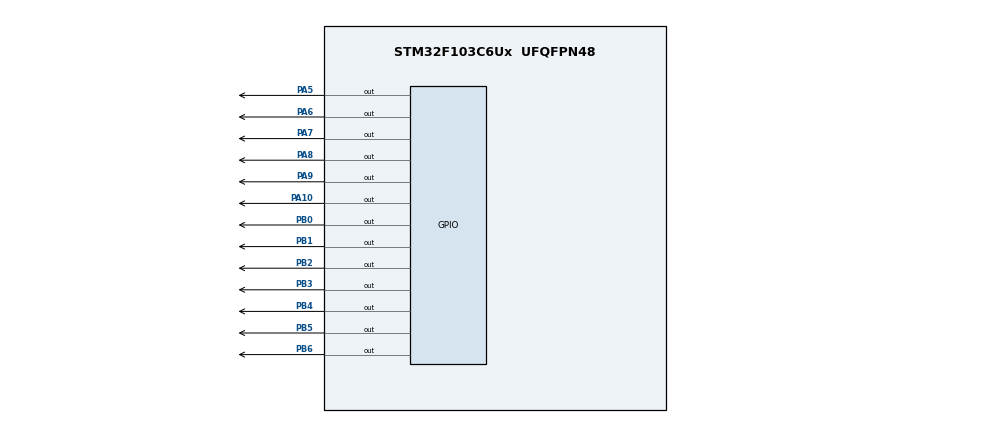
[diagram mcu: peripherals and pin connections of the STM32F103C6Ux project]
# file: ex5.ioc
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Mcu.Family=STM32F1
Mcu.Name=STM32F103C6Ux
Mcu.Package=UFQFPN48
NVIC.PriorityGroup=NVIC_PRIORITYGROUP_4
PA10.Signal=GPIO_Output
PA5.Signal=GPIO_Output
PA6.Signal=GPIO_Output
PA7.Signal=GPIO_Output
PA8.Signal=GPIO_Output
PA9.Signal=GPIO_Output
PB0.Signal=GPIO_Output
PB1.Signal=GPIO_Output
PB2.Signal=GPIO_Output
PB3.Signal=GPIO_Output
PB4.Signal=GPIO_Output
PB5.Signal=GPIO_Output
PB6.Signal=GPIO_Output
ProjectManager.HeapSize=0x200
ProjectManager.StackSize=0x400
ProjectManager.TargetToolchain=STM32CubeIDE
RCC.APB1Freq_Value=8000000
RCC.APB2Freq_Value=8000000
VP_SYS_VS_ND.Mode=No_Debug
board=custom

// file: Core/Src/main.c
/* USER CODE BEGIN Header */
/**
  ******************************************************************************
  * @file           : main.c
  * @brief          : Main program body
  ******************************************************************************
  * @attention
  *
  * <h2><center>&copy; Copyright (c) 2026 STMicroelectronics.
  * All rights reserved.</center></h2>
  *
  * This software component is licensed by ST under BSD 3-Clause license,
  * the "License"; You may not use this file except in compliance with the
  * License. You may obtain a copy of the License at:
  *                        opensource.org/licenses/BSD-3-Clause
  *
  ******************************************************************************
  */
/* USER CODE END Header */
#include "main.h"

void SystemClock_Config(void);
static void MX_GPIO_Init(void);

/* USER CODE BEGIN 0 */
void display7SEG(int num) {
    const uint8_t segment_map[10] = {
        0b1000000,
        0b1111001,
        0b0100100,
        0b0110000,
        0b0011001,
        0b0010010,
        0b0000010,
        0b1111000,
        0b0000000,
        0b0010000
    };

    if (num >= 0 && num <= 9) {
        uint8_t code = segment_map[num];
        HAL_GPIO_WritePin(GPIOB, GPIO_PIN_0, (code & 0x01) ? GPIO_PIN_SET : GPIO_PIN_RESET);
        HAL_GPIO_WritePin(GPIOB, GPIO_PIN_1, (code & 0x02) ? GPIO_PIN_SET : GPIO_PIN_RESET);
        HAL_GPIO_WritePin(GPIOB, GPIO_PIN_2, (code & 0x04) ? GPIO_PIN_SET : GPIO_PIN_RESET);
        HAL_GPIO_WritePin(GPIOB, GPIO_PIN_3, (code & 0x08) ? GPIO_PIN_SET : GPIO_PIN_RESET);
        HAL_GPIO_WritePin(GPIOB, GPIO_PIN_4, (code & 0x10) ? GPIO_PIN_SET : GPIO_PIN_RESET);
        HAL_GPIO_WritePin(GPIOB, GPIO_PIN_5, (code & 0x20) ? GPIO_PIN_SET : GPIO_PIN_RESET);
        HAL_GPIO_WritePin(GPIOB, GPIO_PIN_6, (code & 0x40) ? GPIO_PIN_SET : GPIO_PIN_RESET);
    }
}
/* USER CODE END 0 */

int main(void)
{

  /* MCU Configuration--------------------------------------------------------*/

  /* Reset of all peripherals, Initializes the Flash interface and the Systick. */
  HAL_Init();

  /* Configure the system clock */
  SystemClock_Config();

  /* Initialize all configured peripherals */
  MX_GPIO_Init();

  /* Infinite loop */
  while (1)
  {
	  HAL_GPIO_WritePin(GPIOA, GPIO_PIN_5, GPIO_PIN_RESET);
	      HAL_GPIO_WritePin(GPIOA, GPIO_PIN_6 | GPIO_PIN_7, GPIO_PIN_SET);

	      HAL_GPIO_WritePin(GPIOA, GPIO_PIN_10, GPIO_PIN_RESET);
	      HAL_GPIO_WritePin(GPIOA, GPIO_PIN_8 | GPIO_PIN_9, GPIO_PIN_SET);

	      for(int i = 3; i > 0; i--)
	      {
	          display7SEG(i);
	          HAL_Delay(1000);
	      }

	      // Vàng hướng 1 - Đỏ hướng 2 (2 giây)
	      HAL_GPIO_WritePin(GPIOA, GPIO_PIN_6, GPIO_PIN_RESET);
	      HAL_GPIO_WritePin(GPIOA, GPIO_PIN_5 | GPIO_PIN_7, GPIO_PIN_SET);

	      HAL_GPIO_WritePin(GPIOA, GPIO_PIN_10, GPIO_PIN_RESET);
	      HAL_GPIO_WritePin(GPIOA, GPIO_PIN_8 | GPIO_PIN_9, GPIO_PIN_SET);

	      for(int i = 2; i > 0; i--)
	      {
	          display7SEG(i);
	          HAL_Delay(1000);
	      }

	      // Đỏ hướng 1 - Xanh hướng 2 (3 giây)
	      HAL_GPIO_WritePin(GPIOA, GPIO_PIN_7, GPIO_PIN_RESET);
	      HAL_GPIO_WritePin(GPIOA, GPIO_PIN_5 | GPIO_PIN_6, GPIO_PIN_SET);

	      HAL_GPIO_WritePin(GPIOA, GPIO_PIN_8, GPIO_PIN_RESET);
	      HAL_GPIO_WritePin(GPIOA, GPIO_PIN_9 | GPIO_PIN_10, GPIO_PIN_SET);

	      for(int i = 3; i > 0; i--)
	      {
	          display7SEG(i);
	          HAL_Delay(1000);
	      }

	      // Đỏ hướng 1 - Vàng hướng 2 (2 giây)
	      HAL_GPIO_WritePin(GPIOA, GPIO_PIN_7, GPIO_PIN_RESET);
	      HAL_GPIO_WritePin(GPIOA, GPIO_PIN_5 | GPIO_PIN_6, GPIO_PIN_SET);

	      HAL_GPIO_WritePin(GPIOA, GPIO_PIN_9, GPIO_PIN_RESET);
	      HAL_GPIO_WritePin(GPIOA, GPIO_PIN_8 | GPIO_PIN_10, GPIO_PIN_SET);

	      for(int i = 2; i > 0; i--)
	      {
	          display7SEG(i);
	          HAL_Delay(1000);
	      }
  }
}

void SystemClock_Config(void)
{
  RCC_OscInitTypeDef RCC_OscInitStruct = {0};
  RCC_ClkInitTypeDef RCC_ClkInitStruct = {0};

  /** Initializes the RCC Oscillators according to the specified parameters
  * in the RCC_OscInitTypeDef structure.
  */
  RCC_OscInitStruct.OscillatorType = RCC_OSCILLATORTYPE_HSI;
  RCC_OscInitStruct.HSIState = RCC_HSI_ON;
  RCC_OscInitStruct.HSICalibrationValue = RCC_HSICALIBRATION_DEFAULT;
  RCC_OscInitStruct.PLL.PLLState = RCC_PLL_NONE;
  if (HAL_RCC_OscConfig(&RCC_OscInitStruct) != HAL_OK)
  {
    Error_Handler();
  }
  /** Initializes the CPU, AHB and APB buses clocks
  */
  RCC_ClkInitStruct.ClockType = RCC_CLOCKTYPE_HCLK|RCC_CLOCKTYPE_SYSCLK
                              |RCC_CLOCKTYPE_PCLK1|RCC_CLOCKTYPE_PCLK2;
  RCC_ClkInitStruct.SYSCLKSource = RCC_SYSCLKSOURCE_HSI;
  RCC_ClkInitStruct.AHBCLKDivider = RCC_SYSCLK_DIV1;
  RCC_ClkInitStruct.APB1CLKDivider = RCC_HCLK_DIV1;
  RCC_ClkInitStruct.APB2CLKDivider = RCC_HCLK_DIV1;

  if (HAL_RCC_ClockConfig(&RCC_ClkInitStruct, FLASH_LATENCY_0) != HAL_OK)
  {
    Error_Handler();
  }
}

static void MX_GPIO_Init(void)
{
  GPIO_InitTypeDef GPIO_InitStruct = {0};

  /* GPIO Ports Clock Enable */
  __HAL_RCC_GPIOA_CLK_ENABLE();
  __HAL_RCC_GPIOB_CLK_ENABLE();

  /*Configure GPIO pin Output Level */
  HAL_GPIO_WritePin(GPIOA, GPIO_PIN_5|GPIO_PIN_6|GPIO_PIN_7|GPIO_PIN_8
                          |GPIO_PIN_9|GPIO_PIN_10, GPIO_PIN_RESET);

  /*Configure GPIO pin Output Level */
  HAL_GPIO_WritePin(GPIOB, GPIO_PIN_0|GPIO_PIN_1|GPIO_PIN_2|GPIO_PIN_3
                          |GPIO_PIN_4|GPIO_PIN_5|GPIO_PIN_6, GPIO_PIN_RESET);

  /*Configure GPIO pins : PA5 PA6 PA7 PA8
                           PA9 PA10 */
  GPIO_InitStruct.Pin = GPIO_PIN_5|GPIO_PIN_6|GPIO_PIN_7|GPIO_PIN_8
                          |GPIO_PIN_9|GPIO_PIN_10;
  GPIO_InitStruct.Mode = GPIO_MODE_OUTPUT_PP;
  GPIO_InitStruct.Pull = GPIO_NOPULL;
  GPIO_InitStruct.Speed = GPIO_SPEED_FREQ_LOW;
  HAL_GPIO_Init(GPIOA, &GPIO_InitStruct);

  /*Configure GPIO pins : PB0 PB1 PB2 PB3
                           PB4 PB5 PB6 */
  GPIO_InitStruct.Pin = GPIO_PIN_0|GPIO_PIN_1|GPIO_PIN_2|GPIO_PIN_3
                          |GPIO_PIN_4|GPIO_PIN_5|GPIO_PIN_6;
  GPIO_InitStruct.Mode = GPIO_MODE_OUTPUT_PP;
  GPIO_InitStruct.Pull = GPIO_NOPULL;
  GPIO_InitStruct.Speed = GPIO_SPEED_FREQ_LOW;
  HAL_GPIO_Init(GPIOB, &GPIO_InitStruct);

}

void Error_Handler(void)
{
  __disable_irq();
  while (1)
  {
  }
}

/************************ (C) COPYRIGHT STMicroelectronics *****END OF FILE****/
